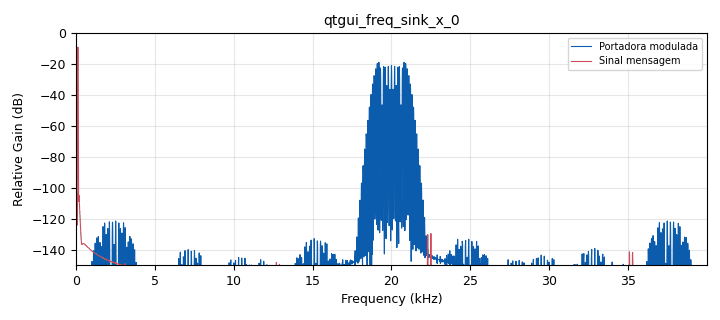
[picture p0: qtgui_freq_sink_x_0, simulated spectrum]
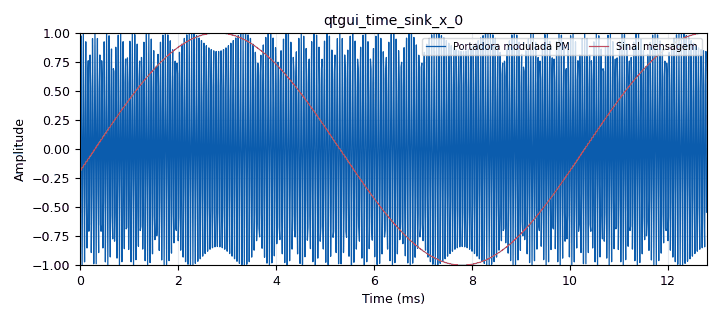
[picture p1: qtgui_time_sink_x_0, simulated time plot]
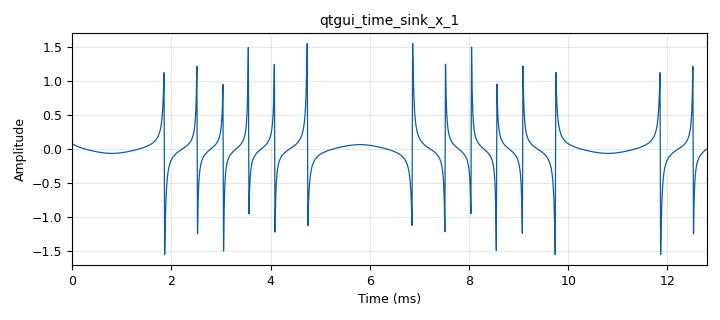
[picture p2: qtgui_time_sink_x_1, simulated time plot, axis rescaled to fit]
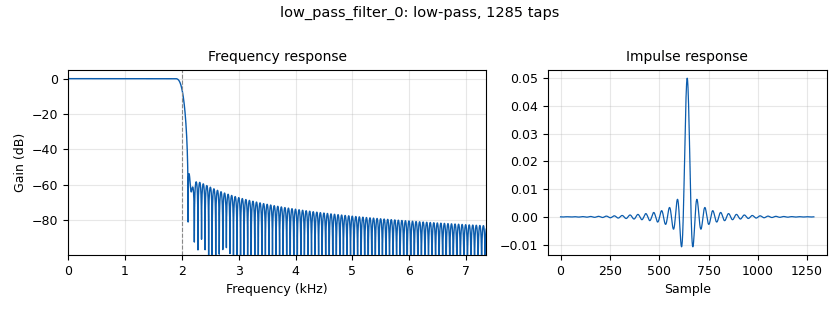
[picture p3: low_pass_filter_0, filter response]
options:
  parameters:
    generate_options: qt_gui
    id: pm
    output_language: python
    title: Not titled yet
  states: {}

blocks:
- name: f
  id: variable_qtgui_range
  parameters:
    label: f msg
    start: '0'
    step: '10'
    stop: '1000'
    value: '100'
  states: {}
- name: fc
  id: variable_qtgui_range
  parameters:
    label: fc
    start: '0'
    step: '100'
    stop: '40000'
    value: '20000'
  states: {}
- name: kp
  id: variable_qtgui_range
  parameters:
    label: kp
    start: '0.01'
    step: '0.1'
    stop: '20'
    value: '10'
  states: {}
- name: samp_rate
  id: variable
  parameters:
    value: '80000'
  states: {}
- name: analog_sig_source_x_0
  id: analog_sig_source_x
  parameters:
    amp: '1'
    freq: f
    offset: '0'
    phase: '0'
    samp_rate: samp_rate
    type: float
    waveform: analog.GR_COS_WAVE
  states: {}
- name: analog_sig_source_x_0_0
  id: analog_sig_source_x
  parameters:
    amp: '1'
    freq: fc
    offset: '0'
    phase: '0'
    samp_rate: samp_rate
    type: complex
    waveform: analog.GR_COS_WAVE
  states: {}
- name: blocks_complex_to_imag_0
  id: blocks_complex_to_imag
  parameters: {}
  states: {}
- name: blocks_complex_to_real_0
  id: blocks_complex_to_real
  parameters: {}
  states: {}
- name: blocks_divide_xx_0
  id: blocks_divide_xx
  parameters:
    type: float
  states: {}
- name: blocks_multiply_const_vxx_0
  id: blocks_multiply_const_vxx
  parameters:
    const: kp
    type: float
  states: {}
- name: blocks_multiply_const_vxx_0_0
  id: blocks_multiply_const_vxx
  parameters:
    const: 1/kp
    type: float
  states: {}
- name: blocks_multiply_xx_0
  id: blocks_multiply_xx
  parameters:
    type: float
  states: {}
- name: blocks_multiply_xx_0_0
  id: blocks_multiply_xx
  parameters:
    type: float
  states: {}
- name: blocks_multiply_xx_0_0_0
  id: blocks_multiply_xx
  parameters:
    type: float
  states: {}
- name: blocks_multiply_xx_0_0_0_0
  id: blocks_multiply_xx
  parameters:
    type: float
  states: {}
- name: blocks_sub_xx_0
  id: blocks_sub_xx
  parameters:
    type: float
  states: {}
- name: blocks_throttle_0
  id: blocks_throttle
  parameters:
    samples_per_second: samp_rate
    type: float
  states: {}
- name: blocks_transcendental_0
  id: blocks_transcendental
  parameters:
    name: cos
    type: float
  states: {}
- name: blocks_transcendental_1
  id: blocks_transcendental
  parameters:
    name: sin
    type: float
  states: {}
- name: blocks_transcendental_2
  id: blocks_transcendental
  parameters:
    name: atan
    type: float
  states: {}
- name: dc_blocker_xx_0
  id: dc_blocker_xx
  parameters:
    length: '2000'
    long_form: 'True'
    type: ff
  states: {}
- name: low_pass_filter_0
  id: low_pass_filter
  parameters:
    cutoff_freq: '2000'
    decim: '1'
    gain: '1'
    samp_rate: samp_rate
    type: fir_filter_fff
    width: '150'
    win: window.WIN_HAMMING
  states: {}
- name: low_pass_filter_0_0
  id: low_pass_filter
  parameters:
    cutoff_freq: '2000'
    decim: '1'
    gain: '1'
    samp_rate: samp_rate
    type: fir_filter_fff
    width: '150'
    win: window.WIN_HAMMING
  states: {}
- name: qtgui_freq_sink_x_0
  id: qtgui_freq_sink_x
  parameters:
    bw: samp_rate
    fc: '0'
    fftsize: '8192'
    freqhalf: 'False'
    label1: Portadora modulada
    label2: Sinal mensagem
    nconnections: '2'
    norm_window: 'True'
    type: float
    ymax: '0'
    ymin: '-150'
  states: {}
- name: qtgui_time_sink_x_0
  id: qtgui_time_sink_x
  parameters:
    label1: Portadora modulada PM
    label2: Sinal mensagem
    nconnections: '2'
    size: '1024'
    srate: samp_rate
    type: float
    width2: '2'
  states: {}
- name: qtgui_time_sink_x_1
  id: qtgui_time_sink_x
  parameters:
    size: '1024'
    srate: samp_rate
    type: float
  states: {}

connections:
- [analog_sig_source_x_0, '0', blocks_throttle_0, '0']
- [analog_sig_source_x_0, '0', qtgui_freq_sink_x_0, '1']
- [analog_sig_source_x_0, '0', qtgui_time_sink_x_0, '1']
- [analog_sig_source_x_0_0, '0', blocks_complex_to_imag_0, '0']
- [analog_sig_source_x_0_0, '0', blocks_complex_to_real_0, '0']
- [blocks_complex_to_imag_0, '0', blocks_multiply_xx_0_0, '0']
- [blocks_complex_to_imag_0, '0', blocks_multiply_xx_0_0_0, '1']
- [blocks_complex_to_real_0, '0', blocks_multiply_xx_0, '1']
- [blocks_complex_to_real_0, '0', blocks_multiply_xx_0_0_0_0, '1']
- [blocks_divide_xx_0, '0', blocks_multiply_const_vxx_0_0, '0']
- [blocks_multiply_const_vxx_0, '0', blocks_transcendental_0, '0']
- [blocks_multiply_const_vxx_0, '0', blocks_transcendental_1, '0']
- [blocks_multiply_const_vxx_0_0, '0', blocks_transcendental_2, '0']
- [blocks_multiply_xx_0, '0', blocks_sub_xx_0, '0']
- [blocks_multiply_xx_0_0, '0', blocks_sub_xx_0, '1']
- [blocks_multiply_xx_0_0_0, '0', low_pass_filter_0, '0']
- [blocks_multiply_xx_0_0_0_0, '0', low_pass_filter_0_0, '0']
- [blocks_sub_xx_0, '0', blocks_multiply_xx_0_0_0, '0']
- [blocks_sub_xx_0, '0', blocks_multiply_xx_0_0_0_0, '0']
- [blocks_sub_xx_0, '0', qtgui_freq_sink_x_0, '0']
- [blocks_sub_xx_0, '0', qtgui_time_sink_x_0, '0']
- [blocks_throttle_0, '0', blocks_multiply_const_vxx_0, '0']
- [blocks_transcendental_0, '0', blocks_multiply_xx_0, '0']
- [blocks_transcendental_1, '0', blocks_multiply_xx_0_0, '1']
- [blocks_transcendental_2, '0', dc_blocker_xx_0, '0']
- [dc_blocker_xx_0, '0', qtgui_time_sink_x_1, '0']
- [low_pass_filter_0, '0', blocks_divide_xx_0, '0']
- [low_pass_filter_0_0, '0', blocks_divide_xx_0, '1']

metadata:
  file_format: 1
  grc_version: 3.10.7.0
